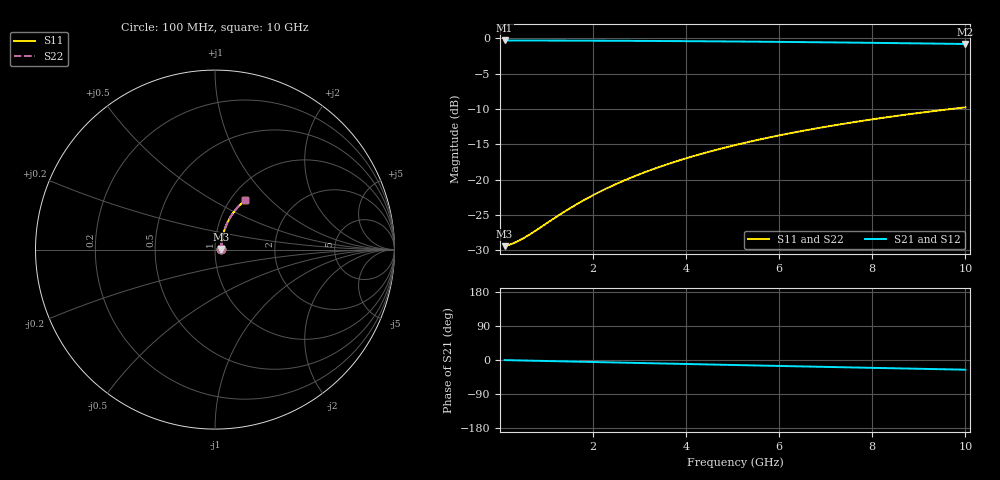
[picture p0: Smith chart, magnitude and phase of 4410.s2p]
# Hz S RI R 50.00
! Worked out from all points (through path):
!   100 points, 100 MHz to 10 GHz, reference 50 ohm
!   highest |S21| = -0.30 dB at 100 MHz (marker M1); lowest = -0.8 dB at 10 GHz (marker M2)
!   group delay of S21, straight-line fit = 7.12 ps
!   lowest |S11| = -29.4 dB at 100 MHz (marker M3), VSWR 1.07, Z = 53.5 + j0.355 ohm
!   |S11| at or under -10 dB: start of sweep to 9.701 GHz
!   |S22| runs from -29.4 to -9.8 dB; largest |S21 - S12| = 0
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1e8  0.0336 0.00332  0.9664 -0.00448  0.9664 -0.00448  0.0336 0.00332
2e8  0.0338 0.00663  0.9662 -0.00895  0.9662 -0.00895  0.0338 0.00663
3e8  0.0341 0.00994  0.9659 -0.0134  0.9659 -0.0134  0.0341 0.00994
4e8  0.0343 0.0132  0.9657 -0.0179  0.9657 -0.0179  0.0343 0.0132
5e8  0.0345 0.0165  0.9654 -0.0224  0.9654 -0.0224  0.0345 0.0165
7e8  0.0351 0.0231  0.9649 -0.0313  0.9649 -0.0313  0.0351 0.0231
1.4e9  0.0378 0.0461  0.9621 -0.0624  0.9621 -0.0624  0.0378 0.0461
1.8e9  0.0399 0.0591  0.9599 -0.0801  0.9599 -0.0801  0.0399 0.0591
2.2e9  0.0425 0.072  0.9572 -0.0976  0.9572 -0.0976  0.0425 0.072
2.6e9  0.0455 0.0848  0.954 -0.115  0.954 -0.115  0.0455 0.0848
3e9  0.049 0.0974  0.9504 -0.1323  0.9504 -0.1323  0.049 0.0974
3.4e9  0.0529 0.1099  0.9463 -0.1494  0.9463 -0.1494  0.0529 0.1099
3.8e9  0.0573 0.1221  0.9417 -0.1664  0.9417 -0.1664  0.0573 0.1221
4.2e9  0.062 0.1342  0.9367 -0.1831  0.9367 -0.1831  0.062 0.1342
4.6e9  0.0672 0.146  0.9313 -0.1996  0.9313 -0.1996  0.0672 0.146
5.1e9  0.0743 0.1605  0.9239 -0.2198  0.9239 -0.2198  0.0743 0.1605
5.9e9  0.0868 0.1827  0.9108 -0.2514  0.9108 -0.2514  0.0868 0.1827
6.7e9  0.1007 0.2038  0.8962 -0.2819  0.8962 -0.2819  0.1007 0.2038
7.5e9  0.1158 0.2236  0.8802 -0.3111  0.8802 -0.3111  0.1158 0.2236
8.4e9  0.1342 0.2443  0.8608 -0.3424  0.8608 -0.3424  0.1342 0.2443
9.2e9  0.1516 0.2612  0.8424 -0.3687  0.8424 -0.3687  0.1516 0.2612
1e10  0.1699 0.2766  0.823 -0.3936  0.823 -0.3936  0.1699 0.2766
